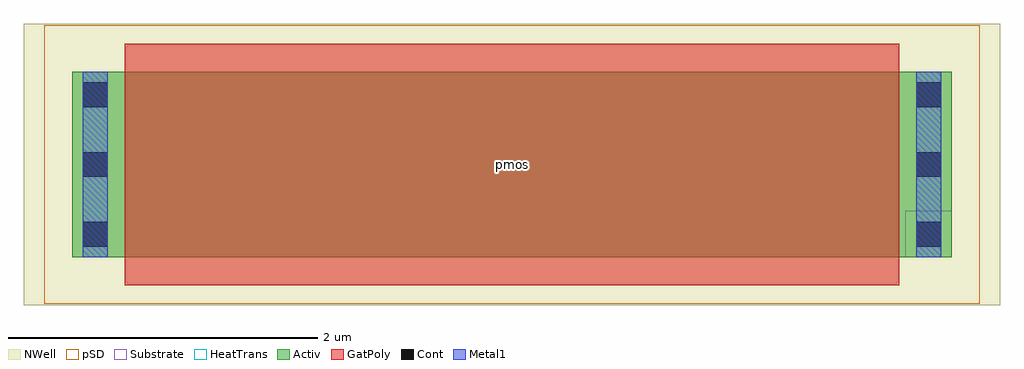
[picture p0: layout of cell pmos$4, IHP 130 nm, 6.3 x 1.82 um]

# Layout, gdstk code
import gdstk
lib = gdstk.Library(unit=1e-6, precision=1e-09)
def R(c, l, rs):  # rectangles x0, y0, x1, y1
    for r in rs: c.add(gdstk.rectangle(r[:2], r[2:], *l))
def A(c, l, x, y, w, h, nx, ny, dx, dy):  # array of equal rectangles
    R(c, l, [(x+i*dx, y+j*dy, x+i*dx+w, y+j*dy+h) for i in range(nx) for j in range(ny)])
Activ = (1, 0)
GatPoly = (5, 0)
Cont = (6, 0)
Metal1 = (8, 0)
pSD = (14, 0)
NWell = (31, 0)
Substrate = (40, 0)
HeatTrans = (51, 0)

pmos_4 = lib.new_cell('pmos$4')
R(pmos_4, Activ, [(0,0,0.3,0.3), (0,0,5.68,1.2), (5.38,0,5.68,0.3)])
R(pmos_4, GatPoly, [(0.34,-0.18,5.34,1.38), (0.34,-0.18,5.34,1.38)])
A(pmos_4, Cont, 0.07, 0.07, 0.16, 0.16, 1, 3, 0, 0.45)
A(pmos_4, Cont, 5.45, 0.07, 0.16, 0.16, 1, 3, 0, 0.45)
R(pmos_4, Metal1, [(0.07,0,0.23,1.2), (0.07,0,0.23,1.2), (5.45,0,5.61,1.2), (5.45,0,5.61,1.2)])
R(pmos_4, pSD, [(-0.18,-0.3,5.86,1.5)])
R(pmos_4, NWell, [(-0.31,-0.31,5.99,1.51)])
R(pmos_4, Substrate, [(5.38,0,5.68,0.3)])
R(pmos_4, HeatTrans, [(0.34,-0.18,5.34,1.38)])
pmos_4.add(gdstk.Label('pmos', (2.84,0.6), layer=63, texttype=0))
pmos_4.add(gdstk.Label('pmos', (2.84,0.6), layer=51, texttype=0))

lib.write_gds('pmos_4.gds')
